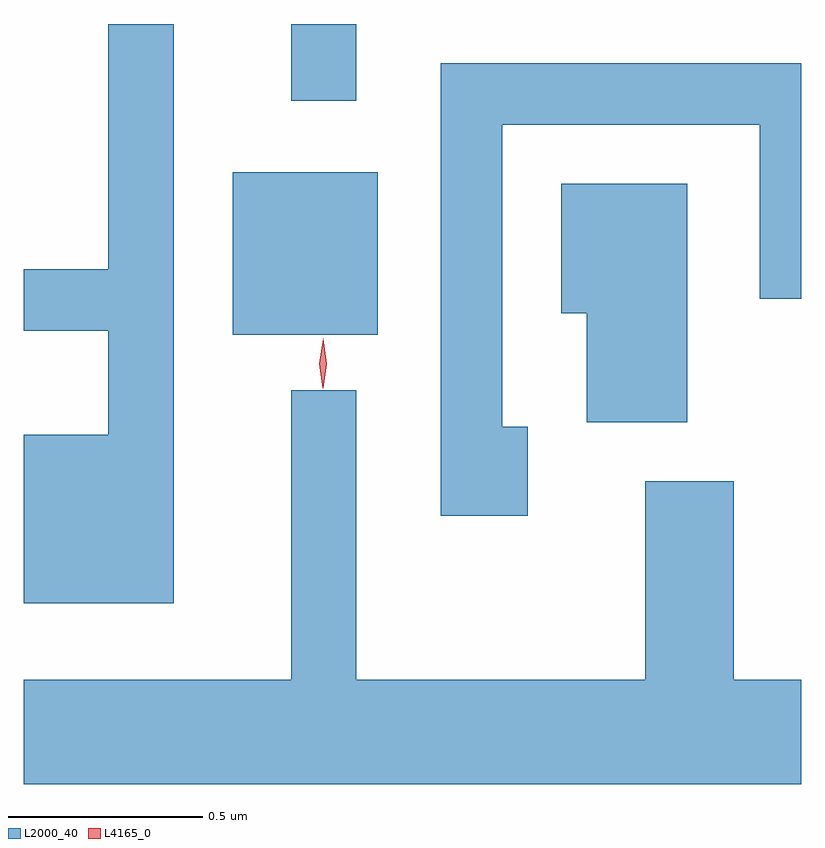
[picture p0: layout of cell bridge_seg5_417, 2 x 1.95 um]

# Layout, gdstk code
import gdstk
lib = gdstk.Library(unit=1e-6, precision=1e-09)
def R(c, l, rs):  # rectangles x0, y0, x1, y1
    for r in rs: c.add(gdstk.rectangle(r[:2], r[2:], *l))
def P(c, l, *ps):  # polygons
    for p in ps: c.add(gdstk.Polygon(p, *l))
L2000_40 = (2000, 40)
L4165_0 = (4165, 0)

bridge_seg5_417 = lib.new_cell('bridge_seg5_417')
R(bridge_seg5_417, L2000_40, [(465.241,1489.031,465.614,1489.449), (465.391,1489.633,465.559,1489.83)])
P(bridge_seg5_417, L2000_40, [(465.089,1489.83),(464.921,1489.83),(464.921,1489.199),(464.703,1489.199),(464.703,1489.041),(464.921,1489.041),(464.921,1488.774),(464.703,1488.774),(464.703,1488.341),(465.089,1488.341)],
  [(465.999,1488.794),(465.934,1488.794),(465.934,1489.571),(466.596,1489.571),(466.596,1489.123),(466.703,1489.123),(466.703,1489.729),(465.776,1489.729),(465.776,1488.566),(465.999,1488.566)],
  [(466.409,1489.419),(466.086,1489.419),(466.086,1489.086),(466.151,1489.086),(466.151,1488.806),(466.409,1488.806)],
  [(466.703,1488.144),(466.529,1488.144),(466.529,1488.654),(466.301,1488.654),(466.301,1488.144),(465.559,1488.144),(465.559,1488.888),(465.391,1488.888),(465.391,1488.144),(464.703,1488.144),(464.703,1487.876),(466.703,1487.876)])
P(bridge_seg5_417, L4165_0, [(465.472,1488.893),(465.463,1488.957),(465.473,1489.021),(465.474,1489.022),(465.474,1489.021),(465.483,1488.957),(465.473,1488.893),(465.473,1488.893)])

lib.write_gds('bridge_seg5_417.gds')
